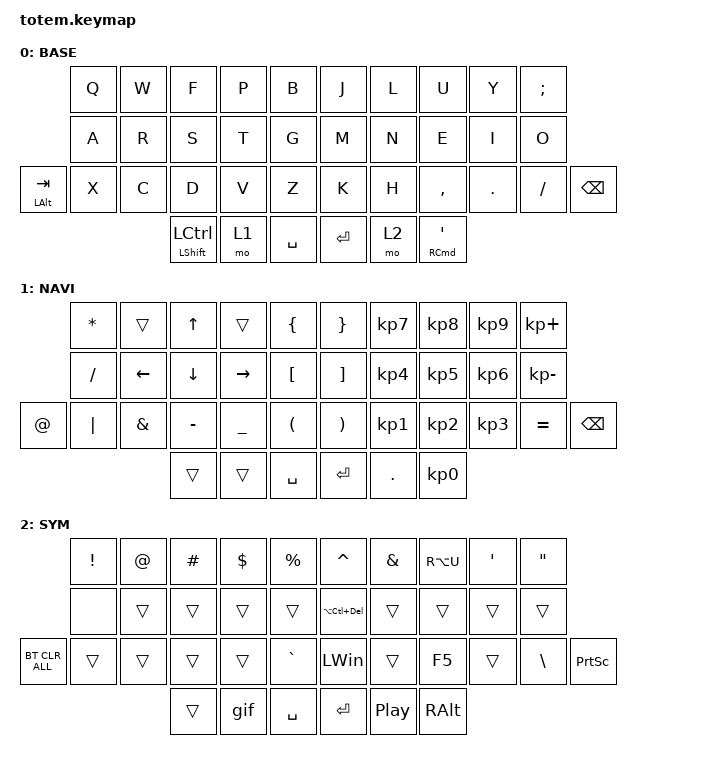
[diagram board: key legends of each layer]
//
//                                                        ▀▀▀▀▀     ▀▀▀▀▀          ▀▀█▀▀
//                                                        ▄▀▀▀▄  ▄  ▄▀▀▀▄  ▄  ▄▀▀▀▄  █  ▄▀▀▀▄
//                                                        █   █  █  █   █  █  █   █  █  █   █
//                                                         ▀▀▀   █   ▀▀▀   █   ▀▀▀   ▀   ▀▀▀
//                                                               █      ▄▄▄█▄▄▄    █   █  
//                                                               ▀      █  █  █     █▄█
//                                                             ▀▀▀▀▀    █  █  █      ▀
//                                                                      ▀  ▀  ▀
//
// ▄▄▄▄▄▄▄▄▄▄▄▄▄▄▄▄▄▄▄▄▄▄▄▄▄▄▄▄▄▄▄▄▄▄▄▄▄▄▄▄▄▄▄▄▄▄▄▄▄▄▄▄▄▄▄▄▄▄▄▄▄▄▄▄▄▄▄▄▄▄▄▄▄▄▄▄▄▄▄▄▄▄▄▄▄▄▄▄▄▄▄▄▄▄▄▄▄▄▄▄▄▄▄▄▄▄▄▄▄▄▄▄▄▄▄▄▄▄▄▄▄▄▄▄▄▄▄▄▄▄▄▄▄▄▄▄▄▄▄▄▄▄▄▄▄▄▄▄▄

#include <behaviors.dtsi>
#include <dt-bindings/zmk/bt.h>
#include <dt-bindings/zmk/keys.h>

#define BASE 0
#define NAV  1
#define SYM  2
#define ADJ  3
#define TVP1 4
#define TVP2 5

&mt {
    quick-tap-ms = <100>;
    global-quick-tap;
    flavor = "tap-preferred";
    tapping-term-ms = <170>;
};

/ {
    combos {
        compatible = "zmk,combos";

        combo_esc {
            timeout-ms = <50>;
            key-positions = <0 1>;
            bindings = <&kp ESC>;
        };

        comand_c {
            bindings = <&kp LG(C)>;
            key-positions = <22 23>;
        };

        comand_v {
            bindings = <&kp LG(V)>;
            key-positions = <23 24>;
        };
    };

    macros {
        gif: gif {
            label = "giphy";
            compatible = "zmk,behavior-macro";
            #binding-cells = <0>;
            bindings =
                <&macro_press>,
                <&kp LSHFT>,
                <&macro_tap>,
                <&kp N2>,
                <&macro_release>,
                <&kp LSHFT>,
                <&macro_tap>,
                <&kp G &kp I &kp F>;
        };
    };

    keymap {
        compatible = "zmk,keymap";

        // ▄▄▄▄▄▄▄▄▄▄▄▄▄▄▄▄▄▄▄▄▄▄▄▄▄▄▄▄▄▄▄▄▄▄▄▄▄▄▄▄▄▄▄▄▄▄▄▄▄▄▄▄▄▄▄▄▄▄▄▄▄▄▄▄▄▄▄▄▄▄▄▄▄▄▄▄▄▄▄▄▄▄▄▄▄▄▄▄▄▄▄▄▄▄▄▄▄▄▄▄▄▄▄▄▄▄▄▄▄▄▄▄▄▄▄▄▄▄▄▄▄▄▄▄▄▄▄▄▄▄▄▄▄▄▄▄▄▄▄▄▄▄▄▄▄▄▄▄▄

        base_layer {
            // ┏━━━━━━━━━━━━━━━━━━━━━━━━━━━━━━━━━━━━━━━┓

            label = "BASE";

            // ┗━━━━━━━━━━━━━━━━━━━━━━━━━━━━━━━━━━━━━━━┛
            //             ┏━━━━━━━━━━━┳━━━━━━━━━━━┳━━━━━━━━━━━┳━━━━━━━━━━━┳━━━━━━━━━━━┓   ┏━━━━━━━━━━━┳━━━━━━━━━━━┳━━━━━━━━━━━┳━━━━━━━━━━━┳━━━━━━━━━━━┓
            //             ┃     Q     ┃     W     ┃     F     ┃     P     ┃     G     ┃   ┃     J     ┃     L     ┃     U     ┃     Y     ┃     ;     ┃
            //             ┣━━━━━━━━━━━╋━━━━━━━━━━━╋━━━━━━━━━━━╋━━━━━━━━━━━╋━━━━━━━━━━━┫   ┣━━━━━━━━━━━╋━━━━━━━━━━━╋━━━━━━━━━━━╋━━━━━━━━━━━╋━━━━━━━━━━━┫
            //             ┃     A     ┃     R     ┃     S     ┃     T     ┃     D     ┃   ┃     H     ┃     N     ┃     E     ┃     I     ┃     O     ┃
            // ┏━━━━━━━━━━━╋━━━━━━━━━━━╋━━━━━━━━━━━╋━━━━━━━━━━━╋━━━━━━━━━━━╋━━━━━━━━━━━┫   ┣━━━━━━━━━━━╋━━━━━━━━━━━╋━━━━━━━━━━━╋━━━━━━━━━━━╋━━━━━━━━━━━╋━━━━━━━━━━━┓
            // ┃     Q     ┃     Z     ┃     X     ┃     C     ┃     V     ┃     B     ┃   ┃     K     ┃     M     ┃     ,     ┃     .     ┃     /     ┃     \     ┃
            // ┗━━━━━━━━━━━┻━━━━━━━━━━━┻━━━━━━━━━━━╋━━━━━━━━━━━╋━━━━━━━━━━━╋━━━━━━━━━━━┫   ┣━━━━━━━━━━━╋━━━━━━━━━━━╋━━━━━━━━━━━╋━━━━━━━━━━━┻━━━━━━━━━━━┻━━━━━━━━━━━┛
            //                                     ┃    DEL    ┃    TAB    ┃    SPC    ┃   ┃   ENTER   ┃           ┃   BSPC    ┃
            //                                     ┗━━━━━━━━━━━┻━━━━━━━━━━━┻━━━━━━━━━━━┛   ┗━━━━━━━━━━━┻━━━━━━━━━━━┻━━━━━━━━━━━┛

            bindings = <
                  &kp Q  &kp W  &kp F                        &kp P  &kp B        &kp J    &kp L  &kp U                  &kp Y    &kp SEMI
                  &kp A  &kp R  &kp S                        &kp T  &kp G        &kp M    &kp N  &kp E                  &kp I    &kp O
&mt LEFT_ALT TAB  &kp X  &kp C  &kp D                        &kp V  &kp Z        &kp K    &kp H  &kp COMMA              &kp DOT  &kp FSLH  &kp BACKSPACE
                                &mt LEFT_SHIFT LEFT_CONTROL  &mo 1  &kp SPACE    &kp RET  &mo 2  &mt RIGHT_COMMAND SQT
            >;
        };

        // ▄▄▄▄▄▄▄▄▄▄▄▄▄▄▄▄▄▄▄▄▄▄▄▄▄▄▄▄▄▄▄▄▄▄▄▄▄▄▄▄▄▄▄▄▄▄▄▄▄▄▄▄▄▄▄▄▄▄▄▄▄▄▄▄▄▄▄▄▄▄▄▄▄▄▄▄▄▄▄▄▄▄▄▄▄▄▄▄▄▄▄▄▄▄▄▄▄▄▄▄▄▄▄▄▄▄▄▄▄▄▄▄▄▄▄▄▄▄▄▄▄▄▄▄▄▄▄▄▄▄▄▄▄▄▄▄▄▄▄▄▄▄▄▄▄▄▄▄▄

        nav_layer {
            // ┏━━━━━━━━━━━━━━━━━━━━━━━━━━━━━━━━━━━━━━━┓

            label = "NAVI";

            // ┗━━━━━━━━━━━━━━━━━━━━━━━━━━━━━━━━━━━━━━━┛
            //             ┏━━━━━━━━━━━┳━━━━━━━━━━━┳━━━━━━━━━━━┳━━━━━━━━━━━┳━━━━━━━━━━━┓   ┏━━━━━━━━━━━┳━━━━━━━━━━━┳━━━━━━━━━━━┳━━━━━━━━━━━┳━━━━━━━━━━━┓
            //             ┃           ┃           ┃     UP    ┃           ┃     {     ┃   ┃     }     ┃     7     ┃     8     ┃     9     ┃     +     ┃
            //             ┣━━━━━━━━━━━╋━━━━━━━━━━━╋━━━━━━━━━━━╋━━━━━━━━━━━╋━━━━━━━━━━━┫   ┣━━━━━━━━━━━╋━━━━━━━━━━━╋━━━━━━━━━━━╋━━━━━━━━━━━╋━━━━━━━━━━━┫
            //             ┃   SHIFT   ┃   LEFT    ┃    DOWN   ┃   RIGHT   ┃     [     ┃   ┃     ]     ┃     4     ┃     5     ┃     6     ┃     -     ┃
            // ┏━━━━━━━━━━━╋━━━━━━━━━━━╋━━━━━━━━━━━╋━━━━━━━━━━━╋━━━━━━━━━━━╋━━━━━━━━━━━┫   ┣━━━━━━━━━━━╋━━━━━━━━━━━╋━━━━━━━━━━━╋━━━━━━━━━━━╋━━━━━━━━━━━╋━━━━━━━━━━━┓
            // ┃           ┃           ┃   P UP    ┃  C LOCK   ┃  P DOWN   ┃     (     ┃   ┃     )     ┃     1     ┃     2     ┃     3     ┃     *     ┃           ┃
            // ┗━━━━━━━━━━━┻━━━━━━━━━━━┻━━━━━━━━━━━╋━━━━━━━━━━━╋━━━━━━━━━━━╋━━━━━━━━━━━┫   ┣━━━━━━━━━━━╋━━━━━━━━━━━╋━━━━━━━━━━━╋━━━━━━━━━━━┻━━━━━━━━━━━┻━━━━━━━━━━━┛
            //                                     ┃           ┃    TAB    ┃    SPC    ┃   ┃    DEL    ┃     0     ┃           ┃
            //                                     ┗━━━━━━━━━━━┻━━━━━━━━━━━┻━━━━━━━━━━━┛   ┗━━━━━━━━━━━┻━━━━━━━━━━━┻━━━━━━━━━━━┛

            bindings = <
             &kp ASTERISK  &trans         &kp UP     &trans          &kp LBRC     &kp RBRC   &kp KP_N7   &kp KP_N8  &kp KP_N9  &kp KP_PLUS
             &kp SLASH     &kp LEFT       &kp DOWN   &kp RIGHT       &kp LBKT     &kp RBKT   &kp KP_N4   &kp KP_N5  &kp KP_N6  &kp KP_MINUS
&kp AT_SIGN  &kp PIPE      &kp AMPERSAND  &kp MINUS  &kp UNDERSCORE  &kp LPAR     &kp RPAR   &kp KP_N1   &kp KP_N2  &kp KP_N3  &kp EQUAL     &kp BACKSPACE
                                          &trans     &trans          &kp SPACE    &kp ENTER  &kp PERIOD  &kp KP_N0
            >;
        };

        // ▄▄▄▄▄▄▄▄▄▄▄▄▄▄▄▄▄▄▄▄▄▄▄▄▄▄▄▄▄▄▄▄▄▄▄▄▄▄▄▄▄▄▄▄▄▄▄▄▄▄▄▄▄▄▄▄▄▄▄▄▄▄▄▄▄▄▄▄▄▄▄▄▄▄▄▄▄▄▄▄▄▄▄▄▄▄▄▄▄▄▄▄▄▄▄▄▄▄▄▄▄▄▄▄▄▄▄▄▄▄▄▄▄▄▄▄▄▄▄▄▄▄▄▄▄▄▄▄▄▄▄▄▄▄▄▄▄▄▄▄▄▄▄▄▄▄▄▄▄

        sim_layer {
            // ┏━━━━━━━━━━━━━━━━━━━━━━━━━━━━━━━━━━━━━━━┓

            label = "SYM";

            // ┗━━━━━━━━━━━━━━━━━━━━━━━━━━━━━━━━━━━━━━━┛
            //             ┏━━━━━━━━━━━┳━━━━━━━━━━━┳━━━━━━━━━━━┳━━━━━━━━━━━┳━━━━━━━━━━━┓   ┏━━━━━━━━━━━┳━━━━━━━━━━━┳━━━━━━━━━━━┳━━━━━━━━━━━┳━━━━━━━━━━━┓
            //             ┃     !     ┃     @     ┃     #     ┃     $     ┃     %     ┃   ┃     ˆ     ┃     &     ┃     Ü     ┃     '     ┃     "     ┃
            //             ┣━━━━━━━━━━━╋━━━━━━━━━━━╋━━━━━━━━━━━╋━━━━━━━━━━━╋━━━━━━━━━━━┫   ┣━━━━━━━━━━━╋━━━━━━━━━━━╋━━━━━━━━━━━╋━━━━━━━━━━━╋━━━━━━━━━━━┫
            //             ┃     Ä     ┃           ┃    SZ     ┃           ┃           ┃   ┃   MUTE    ┃   YEN     ┃   EURO    ┃  POUND    ┃     Ö     ┃
            // ┏━━━━━━━━━━━╋━━━━━━━━━━━╋━━━━━━━━━━━╋━━━━━━━━━━━╋━━━━━━━━━━━╋━━━━━━━━━━━┫   ┣━━━━━━━━━━━╋━━━━━━━━━━━╋━━━━━━━━━━━╋━━━━━━━━━━━╋━━━━━━━━━━━╋━━━━━━━━━━━┓
            // ┃           ┃  EMAIL1   ┃  EMAIL2   ┃           ┃           ┃           ┃   ┃   VOL-    ┃   VOL+    ┃   LAST    ┃   NEXT    ┃     \     ┃           ┃
            // ┗━━━━━━━━━━━┻━━━━━━━━━━━┻━━━━━━━━━━━╋━━━━━━━━━━━╋━━━━━━━━━━━╋━━━━━━━━━━━┫   ┣━━━━━━━━━━━╋━━━━━━━━━━━╋━━━━━━━━━━━╋━━━━━━━━━━━┻━━━━━━━━━━━┻━━━━━━━━━━━┛
            //                                     ┃           ┃    GIF    ┃    ADJ    ┃   ┃           ┃           ┃           ┃
            //                                     ┗━━━━━━━━━━━┻━━━━━━━━━━━┻━━━━━━━━━━━┛   ┗━━━━━━━━━━━┻━━━━━━━━━━━┻━━━━━━━━━━━┛

            bindings = <
                &kp EXCL  &kp AT  &kp HASH  &kp DLLR  &kp PRCNT    &kp CARET        &kp AMPS  &kp RA(U)      &kp SQT  &kp DQT
                &none     &trans  &trans    &trans    &trans       &kp LA(LC(DEL))  &trans    &trans         &trans   &trans
&bt BT_CLR_ALL  &trans    &trans  &trans    &trans    &kp GRAVE    &kp LEFT_WIN     &trans    &kp F5         &trans   &kp BSLH  &kp PRINTSCREEN
                                  &trans    &gif      &kp SPACE    &kp ENTER        &kp C_PP  &kp RIGHT_ALT
            >;
        };

        // ▄▄▄▄▄▄▄▄▄▄▄▄▄▄▄▄▄▄▄▄▄▄▄▄▄▄▄▄▄▄▄▄▄▄▄▄▄▄▄▄▄▄▄▄▄▄▄▄▄▄▄▄▄▄▄▄▄▄▄▄▄▄▄▄▄▄▄▄▄▄▄▄▄▄▄▄▄▄▄▄▄▄▄▄▄▄▄▄▄▄▄▄▄▄▄▄▄▄▄▄▄▄▄▄▄▄▄▄▄▄▄▄▄▄▄▄▄▄▄▄▄▄▄▄▄▄▄▄▄▄▄▄▄▄▄▄▄▄▄▄▄▄▄▄▄▄▄▄▄
        // ▄▄▄▄▄▄▄▄▄▄▄▄▄▄▄▄▄▄▄▄▄▄▄▄▄▄▄▄▄▄▄▄▄▄▄▄▄▄▄▄▄▄▄▄▄▄▄▄▄▄▄▄▄▄▄▄▄▄▄▄▄▄▄▄▄▄▄▄▄▄▄▄▄▄▄▄▄▄▄▄▄▄▄▄▄▄▄▄▄▄▄▄▄▄▄▄▄▄▄▄▄▄▄▄▄▄▄▄▄▄▄▄▄▄▄▄▄▄▄▄▄▄▄▄▄▄▄▄▄▄▄▄▄▄▄▄▄▄▄▄▄▄▄▄▄▄▄▄▄
        // ▄▄▄▄▄▄▄▄▄▄▄▄▄▄▄▄▄▄▄▄▄▄▄▄▄▄▄▄▄▄▄▄▄▄▄▄▄▄▄▄▄▄▄▄▄▄▄▄▄▄▄▄▄▄▄▄▄▄▄▄▄▄▄▄▄▄▄▄▄▄▄▄▄▄▄▄▄▄▄▄▄▄▄▄▄▄▄▄▄▄▄▄▄▄▄▄▄▄▄▄▄▄▄▄▄▄▄▄▄▄▄▄▄▄▄▄▄▄▄▄▄▄▄▄▄▄▄▄▄▄▄▄▄▄▄▄▄▄▄▄▄▄▄▄▄▄▄▄▄
    };
};
